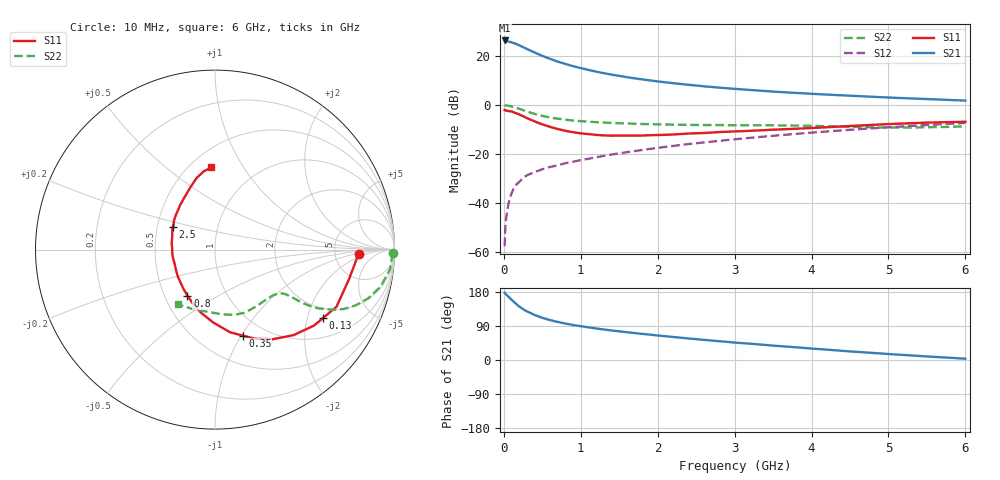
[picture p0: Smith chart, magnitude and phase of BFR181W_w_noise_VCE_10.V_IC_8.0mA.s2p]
! Infineon Technologies  Discrete & RF Semiconductors
! BFR181W
! VCE =  10. V,  IC =  8.0 mA
! Common Emitter S-Parameters:  Jan 2017
# GHz  S  MA  R  50
!  f  S11  S21  S12  S22
! GHz  MAG  ANG  MAG  ANG  MAG  ANG  MAG  ANG
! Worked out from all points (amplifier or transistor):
!   77 points, 10 MHz to 6 GHz, reference 50 ohm
!   highest |S21| = 26.5 dB at 10 MHz (marker M1)
!   |S21| within 3 dB of that: start of sweep to 268.5 MHz
!   unconditionally stable (mu >= 1): 1.159 GHz to 3.172 GHz
!   at 130 MHz: K = 0.22, MSG = 29.7 dB, |S12| = -34.0 dB
!   at 2.2 GHz: K = 1.06, MAG = 11.3 dB, |S12| = -16.7 dB
!   at 6 GHz: K = 0.86, MSG = 4.6 dB, |S12| = -7.3 dB
!   lowest NFmin = 1.14 dB at 450 MHz
!   S11 on the Smith chart (normalised r, x): 10 MHz: 8.89, -1.11; 130 MHz: 1.62, -2.51; 350 MHz: 0.79, -1.01; 800 MHz: 0.65, -0.37; 2.5 GHz: 0.60, +0.16; 6 GHz: 0.63, +0.73
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0.01  0.8005 -1.6  21.15 177.5  0.0013 87.1  0.9945 -1.2
0.03  0.7746 -8.4  20.55 172.9  0.0048 85.3  0.985 -3.7
0.05  0.7641 -12.7  20.32 169.0  0.0079 83.5  0.981 -6.5
0.1  0.7481 -25.2  19.36 158.9  0.0156 78.7  0.9462 -12.5
0.13  0.7124 -32.4  18.61 153.6  0.0199 74.9  0.9156 -15.5
0.15  0.6953 -37.5  18.2 149.8  0.0228 73.2  0.8966 -17.6
0.2  0.6471 -47.4  16.8 141.3  0.0268 69.9  0.8435 -21.6
0.25  0.5945 -57.1  15.47 134.2  0.0323 65.4  0.7918 -24.7
0.3  0.5454 -65.7  14.16 128.2  0.0367 63.2  0.7416 -26.9
0.35  0.503 -72.2  13.03 123.8  0.0396 62.0  0.702 -28.2
0.4  0.4681 -79.7  12 118.6  0.0426 60.9  0.6627 -29.6
0.5  0.4048 -91.7  10.23 111.4  0.0488 60.3  0.6038 -30.9
0.6  0.3601 -102.5  8.898 105.4  0.0543 59.6  0.5606 -31.5
0.8  0.2994 -120.8  6.995 96.2  0.065 61.6  0.5046 -31.8
1.1  0.2563 -143.8  5.272 86.2  0.08 63.3  0.4601 -32.5
1.6  0.2388 -173.9  3.744 73.2  0.1092 64.7  0.4229 -35.9
2.1  0.2476 165.0  2.943 62.8  0.14 64.7  0.4022 -42.2
2.5  0.2661 152.1  2.526 55.0  0.1664 63.8  0.3938 -48.5
3.1  0.2943 136.6  2.105 44.5  0.2075 61.4  0.3885 -58.4
4.1  0.3473 117.4  1.68 28.8  0.2817 55.5  0.375 -75.5
5.1  0.4164 103.3  1.415 14.5  0.3605 47.7  0.3481 -100.0
6  0.4581 92.7  1.243 3.4  0.4339 39.5  0.3687 -124.3
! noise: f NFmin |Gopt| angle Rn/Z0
0.45  1.14  0.2  16  0.21
0.9  1.18  0.19  31  0.21
1.9  1.6  0.07  92  0.2
2.4  1.76  0.06  100  0.23
